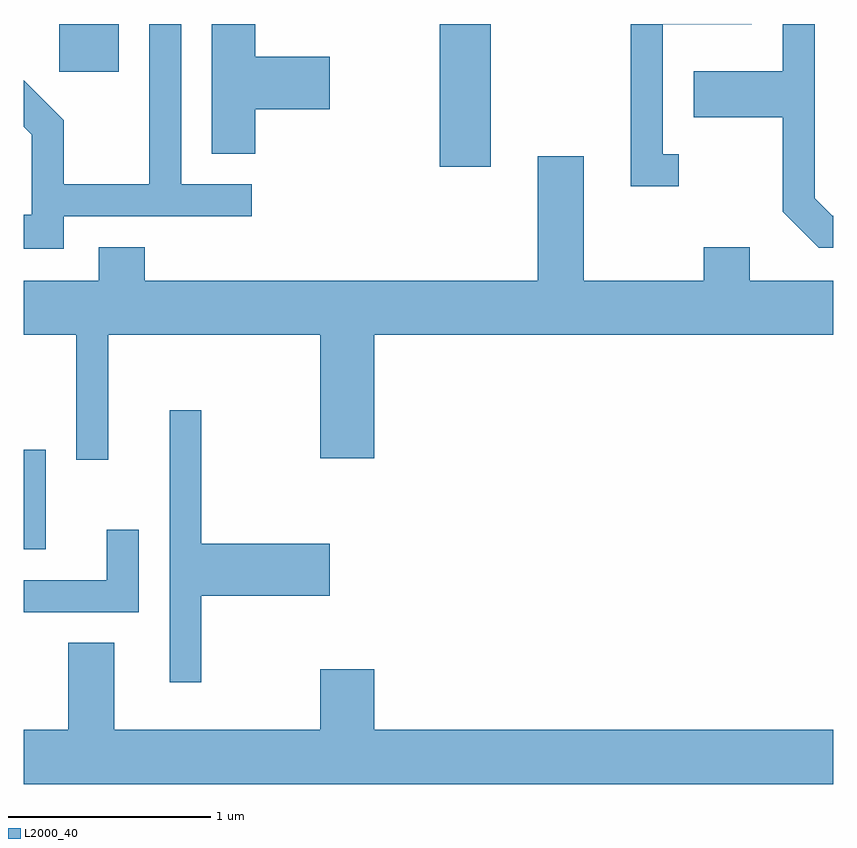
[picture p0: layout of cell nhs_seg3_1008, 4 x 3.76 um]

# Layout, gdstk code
import gdstk
lib = gdstk.Library(unit=1e-6, precision=1e-09)
def R(c, l, rs):  # rectangles x0, y0, x1, y1
    for r in rs: c.add(gdstk.rectangle(r[:2], r[2:], *l))
def P(c, l, *ps):  # polygons
    for p in ps: c.add(gdstk.Polygon(p, *l))
L2000_40 = (2000, 40)

nhs_seg3_1008 = lib.new_cell('nhs_seg3_1008')
R(nhs_seg3_1008, L2000_40, [(213.611,1229.296,213.719,1229.789), (215.666,1231.186,215.919,1231.892), (213.786,1231.656,214.079,1231.892)])
P(nhs_seg3_1008, L2000_40, [(213.809,1230.941),(214.738,1230.941),(214.738,1231.099),(214.389,1231.099),(214.389,1231.892),(214.231,1231.892),(214.231,1231.099),(213.809,1231.099),(213.809,1231.417),(213.611,1231.615),(213.611,1231.384),(213.651,1231.344),(213.651,1230.949),(213.611,1230.949),(213.611,1230.781),(213.809,1230.781)],
  [(214.754,1231.471),(215.124,1231.471),(215.124,1231.729),(214.754,1231.729),(214.754,1231.892),(214.541,1231.892),(214.541,1231.251),(214.754,1231.251)],
  [(216.848,1231.249),(216.769,1231.249),(216.769,1231.891),(217.209,1231.891),(217.209,1231.892),(216.611,1231.892),(216.611,1231.091),(216.848,1231.091)],
  [(217.611,1230.944),(217.607,1230.944),(217.519,1231.032),(217.519,1231.892),(217.361,1231.892),(217.361,1231.659),(216.921,1231.659),(216.921,1231.431),(217.361,1231.431),(217.361,1230.964),(217.539,1230.786),(217.611,1230.786)],
  [(214.029,1230.356),(215.076,1230.356),(215.076,1229.746),(215.344,1229.746),(215.344,1230.356),(217.611,1230.356),(217.611,1230.624),(217.199,1230.624),(217.199,1230.789),(216.971,1230.789),(216.971,1230.624),(216.379,1230.624),(216.379,1231.239),(216.151,1231.239),(216.151,1230.624),(214.209,1230.624),(214.209,1230.789),(213.981,1230.789),(213.981,1230.624),(213.611,1230.624),(213.611,1230.356),(213.871,1230.356),(213.871,1229.738),(214.029,1229.738)],
  [(214.489,1229.066),(215.124,1229.066),(215.124,1229.324),(214.489,1229.324),(214.489,1229.983),(214.331,1229.983),(214.331,1228.638),(214.489,1228.638)],
  [(214.179,1229.393),(214.021,1229.393),(214.021,1229.144),(213.611,1229.144),(213.611,1228.986),(214.179,1228.986)],
  [(217.611,1228.404),(215.344,1228.404),(215.344,1228.704),(215.076,1228.704),(215.076,1228.404),(214.059,1228.404),(214.059,1228.834),(213.831,1228.834),(213.831,1228.404),(213.611,1228.404),(213.611,1228.136),(217.611,1228.136)])

lib.write_gds('nhs_seg3_1008.gds')
